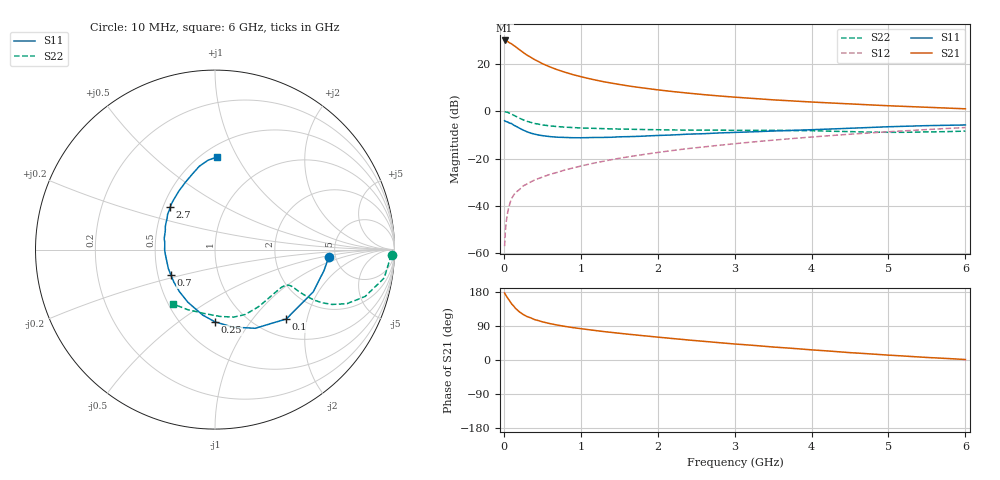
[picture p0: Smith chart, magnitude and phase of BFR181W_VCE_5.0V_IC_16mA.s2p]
! (c) 2017  Infineon Technologies AG, Munich
! Infineon Technologies  Discrete & RF Semiconductors
! BFR181W
! VCE =  5.0 V,  IC =  16 mA
! Common Emitter S-Parameters:  Jan 2017
# GHz  S  MA  R  50
!  f  S11  S21  S12  S22
! GHz  MAG  ANG  MAG  ANG  MAG  ANG  MAG  ANG
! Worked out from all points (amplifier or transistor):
!   77 points, 10 MHz to 6 GHz, reference 50 ohm
!   highest |S21| = 30.0 dB at 10 MHz (marker M1)
!   |S21| within 3 dB of that: start of sweep to 166.5 MHz
!   unconditionally stable (mu >= 1): 786.9 MHz to 2.7 GHz
!   at 130 MHz: K = 0.37, MSG = 31.6 dB, |S12| = -35.3 dB
!   at 2.2 GHz: K = 1.04, MAG = 11.3 dB, |S12| = -16.5 dB
!   at 6 GHz: K = 0.83, MSG = 4.0 dB, |S12| = -6.8 dB
!   S11 on the Smith chart (normalised r, x): 10 MHz: 4.39, -0.62; 100 MHz: 1.35, -1.51; 250 MHz: 0.72, -0.69; 700 MHz: 0.58, -0.18; 2.7 GHz: 0.55, +0.29; 6 GHz: 0.59, +0.83
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0.01  0.6349 -3.8  31.74 176.8  0.0014 81.7  0.984 -1.7
0.02  0.6189 -10.7  31.13 172.8  0.0029 88.3  0.9745 -3.5
0.05  0.5959 -23.3  30.09 163.2  0.0073 80.0  0.9557 -9.5
0.1  0.5542 -44.2  26.98 148.3  0.0142 72.7  0.877 -17.3
0.15  0.4925 -62.9  23.59 136.7  0.019 68.0  0.7944 -22.3
0.2  0.4435 -76.9  20.37 127.4  0.0219 66.4  0.7204 -25.1
0.25  0.4026 -90.0  17.76 120.3  0.0263 64.2  0.6624 -26.5
0.3  0.371 -100.7  15.58 114.8  0.029 63.7  0.6165 -27.0
0.4  0.3296 -117.4  12.47 106.6  0.0353 64.7  0.5551 -26.9
0.5  0.3067 -130.3  10.27 100.8  0.0405 65.2  0.5174 -26.5
0.6  0.2924 -141.4  8.732 96.0  0.0465 66.4  0.4927 -25.9
0.7  0.2837 -150.2  7.575 92.0  0.0514 67.8  0.4759 -25.6
0.9  0.2769 -164.3  5.99 85.4  0.0634 69.5  0.4539 -25.9
1.1  0.2785 -175.4  4.973 80.1  0.0757 70.9  0.4409 -26.8
1.3  0.2809 175.2  4.241 75.0  0.0882 71.4  0.4309 -28.5
1.5  0.2893 168.0  3.717 70.6  0.1016 71.4  0.4229 -30.6
2.1  0.3127 150.1  2.738 58.5  0.1418 70.2  0.4062 -39.4
2.7  0.3431 136.7  2.19 47.5  0.1842 67.4  0.3998 -50.4
3.1  0.3628 128.8  1.949 40.8  0.2143 65.0  0.3977 -57.9
4.1  0.4148 112.3  1.549 25.4  0.2946 58.0  0.3857 -76.7
5.1  0.478 99.2  1.296 11.7  0.3784 49.2  0.3603 -102.6
6  0.516 88.8  1.134 1.3  0.4548 40.2  0.3828 -127.8
